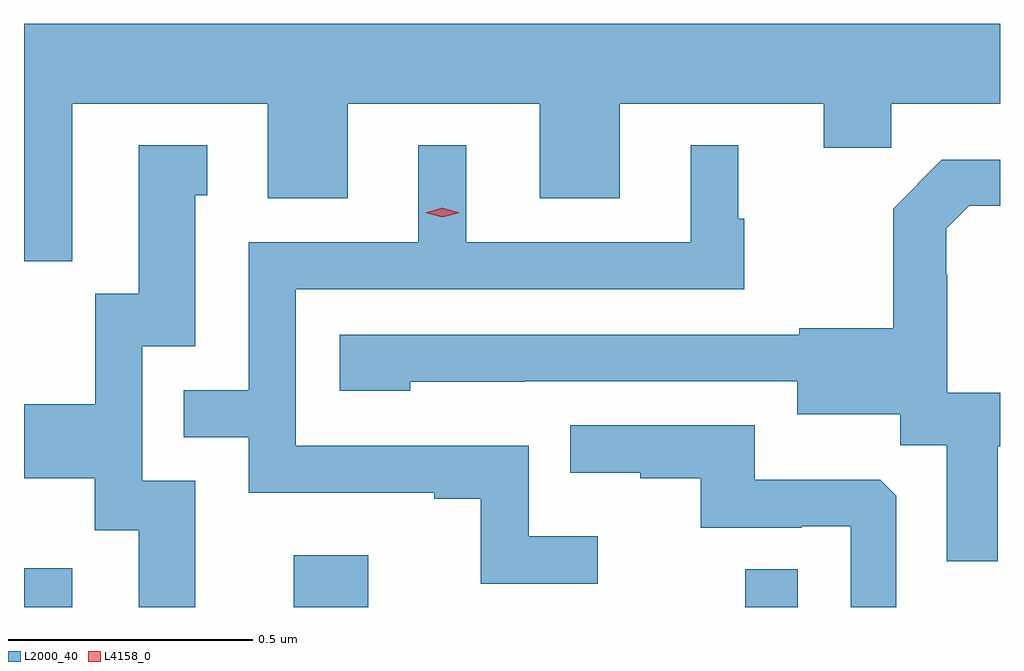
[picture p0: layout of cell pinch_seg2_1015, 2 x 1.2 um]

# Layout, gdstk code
import gdstk
lib = gdstk.Library(unit=1e-6, precision=1e-09)
def R(c, l, rs):  # rectangles x0, y0, x1, y1
    for r in rs: c.add(gdstk.rectangle(r[:2], r[2:], *l))
def P(c, l, *ps):  # polygons
    for p in ps: c.add(gdstk.Polygon(p, *l))
L2000_40 = (2000, 40)
L4158_0 = (4158, 0)

pinch_seg2_1015 = lib.new_cell('pinch_seg2_1015')
R(pinch_seg2_1015, L2000_40, [(177.958,654.596,178.057,654.676), (178.511,654.596,178.663,654.703), (179.436,654.596,179.544,654.674)])
P(pinch_seg2_1015, L2000_40, [(178.057,655.628),(178.457,655.628),(178.457,655.434),(178.621,655.434),(178.621,655.628),(179.015,655.628),(179.015,655.434),(179.179,655.434),(179.179,655.628),(179.597,655.628),(179.597,655.538),(179.735,655.538),(179.735,655.628),(179.958,655.628),(179.958,655.792),(177.958,655.792),(177.958,655.305),(178.057,655.305)],
  [(178.309,654.855),(178.2,654.855),(178.2,655.131),(178.309,655.131),(178.309,655.44),(178.333,655.44),(178.333,655.543),(178.193,655.543),(178.193,655.239),(178.104,655.239),(178.104,655.012),(177.958,655.012),(177.958,654.86),(178.103,654.86),(178.103,654.754),(178.193,654.754),(178.193,654.596),(178.309,654.596)],
  [(179.134,654.742),(178.992,654.742),(178.992,654.927),(178.515,654.927),(178.515,655.248),(179.434,655.248),(179.434,655.392),(179.422,655.392),(179.422,655.543),(179.324,655.543),(179.324,655.344),(178.864,655.344),(178.864,655.543),(178.766,655.543),(178.766,655.344),(178.419,655.344),(178.419,655.041),(178.285,655.041),(178.285,654.945),(178.419,654.945),(178.419,654.831),(178.799,654.831),(178.799,654.819),(178.894,654.819),(178.894,654.644),(179.134,654.644)],
  [(179.953,654.926),(179.958,654.926),(179.958,655.036),(179.85,655.036),(179.85,655.277),(179.848,655.277),(179.848,655.372),(179.895,655.419),(179.958,655.419),(179.958,655.513),(179.839,655.513),(179.739,655.413),(179.739,655.168),(179.547,655.168),(179.547,655.155),(178.605,655.155),(178.605,655.04),(178.749,655.04),(178.749,655.058),(178.985,655.058),(178.985,655.059),(179.543,655.059),(179.543,654.992),(179.754,654.992),(179.754,654.928),(179.849,654.928),(179.849,654.69),(179.953,654.69)],
  [(179.745,654.825),(179.713,654.857),(179.455,654.857),(179.455,654.969),(179.077,654.969),(179.077,654.872),(179.221,654.872),(179.221,654.861),(179.345,654.861),(179.345,654.759),(179.552,654.759),(179.552,654.762),(179.652,654.762),(179.652,654.596),(179.745,654.596)])
P(pinch_seg2_1015, L4158_0, [(178.815,655.395),(178.78,655.405),(178.779,655.405),(178.78,655.405),(178.815,655.415),(178.851,655.405),(178.851,655.405),(178.851,655.405)])

lib.write_gds('pinch_seg2_1015.gds')
